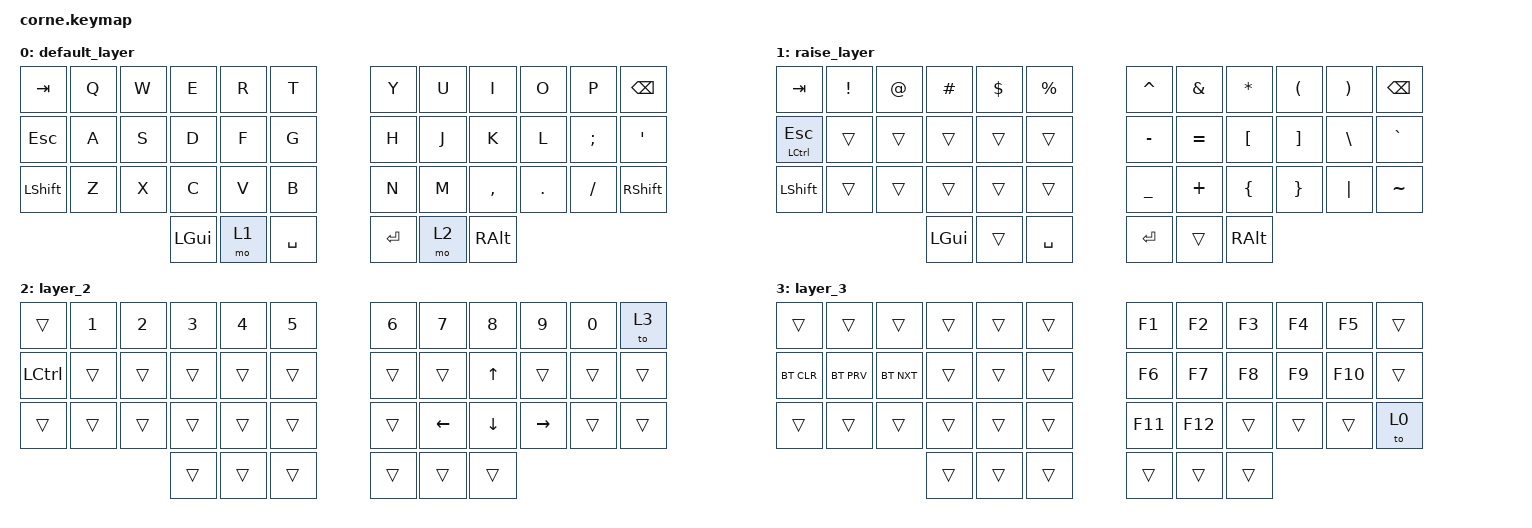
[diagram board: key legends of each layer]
/*
 * Copyright (c) 2020 The ZMK Contributors
 *
 * SPDX-License-Identifier: MIT
 */

#include <behaviors.dtsi>
#include <dt-bindings/zmk/bt.h>
#include <dt-bindings/zmk/keys.h>

/ {
    keymap {
        compatible = "zmk,keymap";

        default_layer {
            // -----------------------------------------------------------------------------------------
            // |  TAB |  Q  |  W  |  E  |  R  |  T  |   |  Y  |  U   |  I  |  O  |  P  | BKSP |
            // | CTRL |  A  |  S  |  D  |  F  |  G  |   |  H  |  J   |  K  |  L  |  ;  |  '   |
            // | SHFT |  Z  |  X  |  C  |  V  |  B  |   |  N  |  M   |  ,  |  .  |  /  | ESC  |
            //                    | GUI | LWR | SPC |   | ENT | RSE  | ALT |

            bindings = <
&kp TAB    &kp Q  &kp W  &kp E     &kp R  &kp T        &kp Y    &kp U  &kp I      &kp O    &kp P     &kp BSPC
&kp ESC    &kp A  &kp S  &kp D     &kp F  &kp G        &kp H    &kp J  &kp K      &kp L    &kp SEMI  &kp SQT
&kp LSHFT  &kp Z  &kp X  &kp C     &kp V  &kp B        &kp N    &kp M  &kp COMMA  &kp DOT  &kp FSLH  &kp RSHIFT
                         &kp LGUI  &mo 1  &kp SPACE    &kp RET  &mo 2  &kp RALT
            >;
        };

        raise_layer {
            // -----------------------------------------------------------------------------------------
            // |  TAB |  !  |  @  |  #  |  $  |  %  |   |  ^  |  &  |  *  |  (  |  )  | BKSP |
            // | CTRL |     |     |     |     |     |   |  -  |  =  |  [  |  ]  |  \  |  `   |
            // | SHFT |     |     |     |     |     |   |  _  |  +  |  {  |  }  | "|" |  ~   |
            //                    | GUI |     | SPC |   | ENT |     | ALT |

            bindings = <
&kp TAB     &kp EXCL  &kp AT  &kp HASH  &kp DLLR  &kp PRCNT    &kp CARET  &kp AMPS   &kp STAR  &kp LPAR  &kp RPAR  &kp BSPC
&mt LCTRL ESCAPE  &trans    &trans  &trans    &trans    &trans       &kp MINUS  &kp EQUAL  &kp LBKT  &kp RBKT  &kp BSLH  &kp GRAVE
&kp LSHFT   &trans    &trans  &trans    &trans    &trans       &kp UNDER  &kp PLUS   &kp LBRC  &kp RBRC  &kp PIPE  &kp TILDE
                              &kp LGUI  &trans    &kp SPACE    &kp RET    &trans     &kp RALT
            >;
        };

        layer_2 {
            bindings = <
&trans     &kp N1  &kp N2  &kp N3  &kp N4  &kp N5    &kp N6  &kp N7  &kp N8  &kp N9  &kp N0  &to 3
&kp LCTRL  &trans  &trans  &trans  &trans  &trans    &trans  &trans  &kp UP  &trans  &trans  &trans
&trans     &trans  &trans  &trans  &trans  &trans    &trans  &kp LEFT  &kp DOWN  &kp RIGHT  &trans  &trans
                           &trans  &trans  &trans    &trans  &trans  &trans
            >;
        };

        layer_3 {
            bindings = <
&trans      &trans      &trans      &trans  &trans  &trans    &kp F1  &kp F2  &kp F3  &kp F4  &kp F5  &trans
&bt BT_CLR  &bt BT_PRV  &bt BT_NXT  &trans  &trans  &trans    &kp F6  &kp F7  &kp F8  &kp F9  &kp F10  &trans
&trans      &trans      &trans      &trans  &trans  &trans    &kp F11  &kp F12  &trans  &trans  &trans  &to 0
                                    &trans  &trans  &trans    &trans  &trans  &trans
            >;
        };
    };
};

